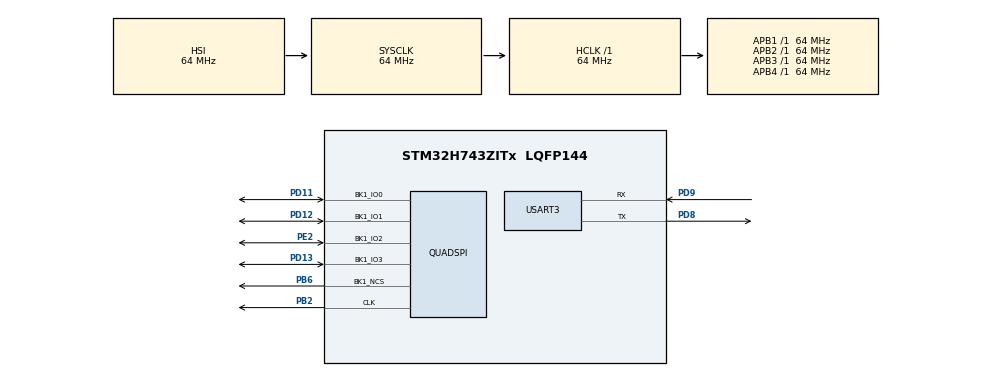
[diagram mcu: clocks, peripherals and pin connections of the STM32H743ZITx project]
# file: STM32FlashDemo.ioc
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Mcu.Family=STM32H7
Mcu.Name=STM32H743ZITx
Mcu.Package=LQFP144
NVIC.PriorityGroup=NVIC_PRIORITYGROUP_4
NVIC.QUADSPI_IRQn=true\:0\:0\:false\:false\:true\:true\:true
NVIC.USART3_IRQn=true\:0\:0\:false\:false\:true\:true\:true
PB2.Mode=Single Bank 1
PB2.Signal=QUADSPI_CLK
PB6.Mode=Single Bank 1
PB6.Signal=QUADSPI_BK1_NCS
PD11.Mode=Single Bank 1
PD11.Signal=QUADSPI_BK1_IO0
PD12.Mode=Single Bank 1
PD12.Signal=QUADSPI_BK1_IO1
PD13.Mode=Single Bank 1
PD13.Signal=QUADSPI_BK1_IO3
PD8.Mode=Asynchronous
PD8.Signal=USART3_TX
PD9.Mode=Asynchronous
PD9.Signal=USART3_RX
PE2.Mode=Single Bank 1
PE2.Signal=QUADSPI_BK1_IO2
ProjectManager.HeapSize=0x200
ProjectManager.StackSize=0x400
ProjectManager.TargetToolchain=EWARM V8
QUADSPI.ChipSelectHighTime=QSPI_CS_HIGH_TIME_3_CYCLE
QUADSPI.ClockPrescaler=2
QUADSPI.FifoThreshold=4
QUADSPI.FlashSize=22
RCC.ADCFreq_Value=129000000
RCC.APB1Freq_Value=64000000
RCC.APB2Freq_Value=64000000
RCC.APB3Freq_Value=64000000
RCC.APB4Freq_Value=64000000
RCC.CortexFreq_Value=64000000
RCC.HCLKFreq_Value=64000000
RCC.SYSCLKFreq_VALUE=64000000
RCC.USBFreq_Value=129000000
USART3.VirtualMode-Asynchronous=VM_ASYNC
board=custom

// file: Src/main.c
/* USER CODE BEGIN Header */
/**
  ******************************************************************************
  * @file           : main.c
  * @brief          : Main program body
  ******************************************************************************
  * @attention
  *
  * <h2><center>&copy; Copyright (c) 2019 STMicroelectronics.
  * All rights reserved.</center></h2>
  *
  * This software component is licensed by ST under BSD 3-Clause license,
  * the "License"; You may not use this file except in compliance with the
  * License. You may obtain a copy of the License at:
  *                        opensource.org/licenses/BSD-3-Clause
  *
  ******************************************************************************
  */
/* USER CODE END Header */

#include "main.h"

/* USER CODE BEGIN Includes */
#include <stdio.h>
#include <string.h>
#include "fw_update_api.h"
#include "dummy.h"
/* USER CODE END Includes */

/* USER CODE BEGIN PD */
#define FW_START_ADDR 0x08020000 // Start address of Firmware in FLASH (128KB)

/* USER CODE END PD */

/* USER CODE BEGIN PM */
#if defined(DEBUG)
 #define DEBUG_PRINT(fmt, args...) printf(fmt, ##args)
#else
 #define DEBUG_PRINT(fmt, args...)
#endif
/* USER CODE END PM */

QSPI_HandleTypeDef hqspi;

UART_HandleTypeDef huart3;

/* USER CODE BEGIN PV */
uint8_t cmd_received;
int16_t current_qspi_buffer_index;
int16_t next_qspi_buffer_index;
fw_header_t current_firmware_info;
/* USER CODE END PV */

void SystemClock_Config(void);
static void MX_GPIO_Init(void);
static void MX_USART3_UART_Init(void);
//static void MX_QUADSPI_Init(void);
/* USER CODE BEGIN PFP */
void code_copy(void);
void update_firmware(void) __attribute__ ((section (".ramfunc")));
/* USER CODE END PFP */

int main(void)
{
  /* USER CODE BEGIN 1 */
  // Copy object code from ROM to RAM for execution on RAM
  code_copy();
  /* USER CODE END 1 */

  /* MCU Configuration--------------------------------------------------------*/

  /* Reset of all peripherals, Initializes the Flash interface and the Systick. */
  HAL_Init();

  /* Configure the system clock */
  SystemClock_Config();

  /* Initialize all configured peripherals */
  MX_GPIO_Init();
  MX_USART3_UART_Init();
//  MX_QUADSPI_Init();
  /* USER CODE BEGIN 2 */
  BSP_LED_Init(LED1);
  BSP_LED_Init(LED2);
  BSP_LED_Init(LED3);

  BSP_LED_Off(LED1);
  BSP_LED_Off(LED2);
  BSP_LED_Off(LED3);

  // Initilization
  FWUPDATE_InitFlash();
  FWUPDATE_InitQSPI();
  FWUPDATE_Init();

  // Read QSPI flash buffer management table
  // QSPI flash buffer index starts from 0, 1, 2, ...
  current_qspi_buffer_index = FWUPDATE_Get_Current_FW_Info(&current_firmware_info);

  next_qspi_buffer_index = (current_qspi_buffer_index + 1) % FW_AREA_NUM;

  if (current_qspi_buffer_index < 0) {
    // QSPI flash memory does not have any data
    DEBUG_PRINT("QSPI flash memory does not have any data\r\n");

    dummy_main();
  } else {
    update_firmware();
  }

  /* USER CODE END 2 */

  /* Infinite loop */
  while (1)
  {

  }
}

void SystemClock_Config(void)
{
  RCC_OscInitTypeDef RCC_OscInitStruct = {0};
  RCC_ClkInitTypeDef RCC_ClkInitStruct = {0};
  RCC_PeriphCLKInitTypeDef PeriphClkInitStruct = {0};

  /** Supply configuration update enable
  */
  HAL_PWREx_ConfigSupply(PWR_LDO_SUPPLY);
  /** Configure the main internal regulator output voltage
  */
  __HAL_PWR_VOLTAGESCALING_CONFIG(PWR_REGULATOR_VOLTAGE_SCALE3);

  while(!__HAL_PWR_GET_FLAG(PWR_FLAG_VOSRDY)) {}
  /** Initializes the CPU, AHB and APB busses clocks
  */
  RCC_OscInitStruct.OscillatorType = RCC_OSCILLATORTYPE_HSI;
  RCC_OscInitStruct.HSIState = RCC_HSI_DIV1;
  RCC_OscInitStruct.HSICalibrationValue = RCC_HSICALIBRATION_DEFAULT;
  RCC_OscInitStruct.PLL.PLLState = RCC_PLL_NONE;
  if (HAL_RCC_OscConfig(&RCC_OscInitStruct) != HAL_OK)
  {
    Error_Handler();
  }
  /** Initializes the CPU, AHB and APB busses clocks
  */
  RCC_ClkInitStruct.ClockType = RCC_CLOCKTYPE_HCLK|RCC_CLOCKTYPE_SYSCLK
                              |RCC_CLOCKTYPE_PCLK1|RCC_CLOCKTYPE_PCLK2
                              |RCC_CLOCKTYPE_D3PCLK1|RCC_CLOCKTYPE_D1PCLK1;
  RCC_ClkInitStruct.SYSCLKSource = RCC_SYSCLKSOURCE_HSI;
  RCC_ClkInitStruct.SYSCLKDivider = RCC_SYSCLK_DIV1;
  RCC_ClkInitStruct.AHBCLKDivider = RCC_HCLK_DIV1;
  RCC_ClkInitStruct.APB3CLKDivider = RCC_APB3_DIV1;
  RCC_ClkInitStruct.APB1CLKDivider = RCC_APB1_DIV1;
  RCC_ClkInitStruct.APB2CLKDivider = RCC_APB2_DIV1;
  RCC_ClkInitStruct.APB4CLKDivider = RCC_APB4_DIV1;

  if (HAL_RCC_ClockConfig(&RCC_ClkInitStruct, FLASH_LATENCY_0) != HAL_OK)
  {
    Error_Handler();
  }
  PeriphClkInitStruct.PeriphClockSelection = RCC_PERIPHCLK_USART3|RCC_PERIPHCLK_QSPI;
  PeriphClkInitStruct.QspiClockSelection = RCC_QSPICLKSOURCE_D1HCLK;
  PeriphClkInitStruct.Usart234578ClockSelection = RCC_USART234578CLKSOURCE_D2PCLK1;
  if (HAL_RCCEx_PeriphCLKConfig(&PeriphClkInitStruct) != HAL_OK)
  {
    Error_Handler();
  }
}

///**
//  * @brief QUADSPI Initialization Function
//  * @param None
//  * @retval None
//  */
//static void MX_QUADSPI_Init(void)
//{
//
//  /* USER CODE BEGIN QUADSPI_Init 0 */
//
//  /* USER CODE END QUADSPI_Init 0 */
//
//  /* USER CODE BEGIN QUADSPI_Init 1 */
//
//  /* USER CODE END QUADSPI_Init 1 */
//  /* QUADSPI parameter configuration*/
//  hqspi.Instance = QUADSPI;
//  hqspi.Init.ClockPrescaler = 2;
//  hqspi.Init.FifoThreshold = 4;
//  hqspi.Init.SampleShifting = QSPI_SAMPLE_SHIFTING_NONE;
//  hqspi.Init.FlashSize = 22;
//  hqspi.Init.ChipSelectHighTime = QSPI_CS_HIGH_TIME_3_CYCLE;
//  hqspi.Init.ClockMode = QSPI_CLOCK_MODE_0;
//  hqspi.Init.FlashID = QSPI_FLASH_ID_1;
//  hqspi.Init.DualFlash = QSPI_DUALFLASH_DISABLE;
//  if (HAL_QSPI_Init(&hqspi) != HAL_OK)
//  {
//    Error_Handler();
//  }
//  /* USER CODE BEGIN QUADSPI_Init 2 */
//
//  /* USER CODE END QUADSPI_Init 2 */
//
//}

static void MX_USART3_UART_Init(void)
{

  huart3.Instance = USART3;
  huart3.Init.BaudRate = 115200;
  huart3.Init.WordLength = UART_WORDLENGTH_8B;
  huart3.Init.StopBits = UART_STOPBITS_1;
  huart3.Init.Parity = UART_PARITY_NONE;
  huart3.Init.Mode = UART_MODE_TX_RX;
  huart3.Init.HwFlowCtl = UART_HWCONTROL_NONE;
  huart3.Init.OverSampling = UART_OVERSAMPLING_16;
  huart3.Init.OneBitSampling = UART_ONE_BIT_SAMPLE_DISABLE;
  huart3.Init.ClockPrescaler = UART_PRESCALER_DIV1;
  huart3.AdvancedInit.AdvFeatureInit = UART_ADVFEATURE_NO_INIT;
  if (HAL_UART_Init(&huart3) != HAL_OK)
  {
    Error_Handler();
  }
  if (HAL_UARTEx_SetTxFifoThreshold(&huart3, UART_TXFIFO_THRESHOLD_1_8) != HAL_OK)
  {
    Error_Handler();
  }
  if (HAL_UARTEx_SetRxFifoThreshold(&huart3, UART_RXFIFO_THRESHOLD_1_8) != HAL_OK)
  {
    Error_Handler();
  }
  if (HAL_UARTEx_DisableFifoMode(&huart3) != HAL_OK)
  {
    Error_Handler();
  }

}

static void MX_GPIO_Init(void)
{

  /* GPIO Ports Clock Enable */
  __HAL_RCC_GPIOE_CLK_ENABLE();
  __HAL_RCC_GPIOB_CLK_ENABLE();
  __HAL_RCC_GPIOD_CLK_ENABLE();

}

/* USER CODE BEGIN 4 */

/**
  * @brief Rx Transfer completed callback.
  * @param huart: UART handle.
  * @retval None
  */
void HAL_UART_RxCpltCallback(UART_HandleTypeDef *huart)
{
  cmd_received = 1;
}

/**
  * @brief Copy object code from ROM to RAM for execution on RAM.
  * @retval None
  */
#pragma section = ".ramobj"
#pragma section = ".ramobj_init"
#pragma section = ".ramfunc"
#pragma section = ".ramfunc_init"
void code_copy(void)
{
  uint8_t * from;
  uint8_t * to;

  __disable_irq();

  /* Copy object code from ROM to RAM for execution on RAM */
  from = __section_begin(".ramobj_init");
  to   = __section_begin(".ramobj");
  memcpy(to, from, __section_size(".ramobj_init"));

  from = __section_begin(".ramfunc_init");
  to   = __section_begin(".ramfunc");
  memcpy(to, from, __section_size(".ramfunc_init"));

  __enable_irq();
}

void update_firmware(void)
{
  uint32_t qspi_address;
  qspi_address = current_qspi_buffer_index * FW_AREA_SIZE + FW_HEADER_SIZE;
  DEBUG_PRINT("Update Firmware from QSPI buffer %d\r\n", current_qspi_buffer_index);
  DEBUG_PRINT("QSPI address: 0x%08x\r\nFLASH Address: 0x%08x\r\nSize: %d bytes\r\n", qspi_address, FW_START_ADDR, current_firmware_info.size);

  FWUPDATE_ERR_CODE ret;
  BSP_LED_On(LED2);
  ret = FWUPDATE_Update(qspi_address, FW_START_ADDR, current_firmware_info.size);
  BSP_LED_Off(LED2);
  if (ret == FWUPDATE_ERR_OK) {
    DEBUG_PRINT("Firmware Updated\r\n");
    current_firmware_info.state = FWUPDATE_AREA_STATE_VALID; // FWUPDATE_AREA_STATE_UPDATING? for rollback?
    FWUPDATE_Set_FW_Info(current_qspi_buffer_index, &current_firmware_info);
  } else {
    DEBUG_PRINT("Firmware Update Failed\r\n");
  }

  dummy_main();
}

/* USER CODE END 4 */

void Error_Handler(void)
{
  /* USER CODE BEGIN Error_Handler_Debug */
  /* User can add his own implementation to report the HAL error return state */
  BSP_LED_On(LED3);
  while (1) {}
  /* USER CODE END Error_Handler_Debug */
}

/************************ (C) COPYRIGHT STMicroelectronics *****END OF FILE****/
